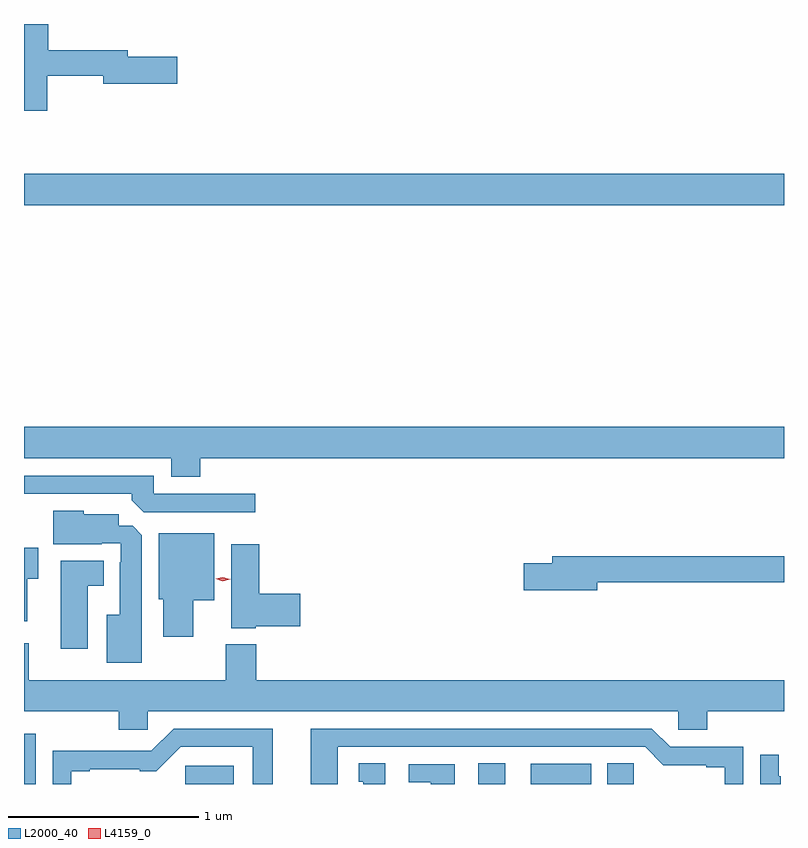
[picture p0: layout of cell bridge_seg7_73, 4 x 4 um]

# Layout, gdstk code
import gdstk
lib = gdstk.Library(unit=1e-6, precision=1e-09)
def R(c, l, rs):  # rectangles x0, y0, x1, y1
    for r in rs: c.add(gdstk.rectangle(r[:2], r[2:], *l))
def P(c, l, *ps):  # polygons
    for p in ps: c.add(gdstk.Polygon(p, *l))
L2000_40 = (2000, 40)
L4159_0 = (4159, 0)

bridge_seg7_73 = lib.new_cell('bridge_seg7_73')
R(bridge_seg7_73, L2000_40, [(1106.65,1030.869,1106.712,1031.133), (1107.498,1030.869,1107.754,1030.965), (1109.042,1030.869,1109.182,1030.979), (1109.318,1030.869,1109.635,1030.975), (1109.72,1030.869,1109.859,1030.979), (1106.65,1033.916,1110.65,1034.08)])
P(bridge_seg7_73, L2000_40, [(1106.772,1034.596),(1107.068,1034.596),(1107.068,1034.554),(1107.457,1034.554),(1107.457,1034.696),(1107.196,1034.696),(1107.196,1034.732),(1106.777,1034.732),(1106.777,1034.869),(1106.65,1034.869),(1106.65,1034.412),(1106.772,1034.412)],
  [(1107.578,1032.584),(1110.65,1032.584),(1110.65,1032.748),(1106.65,1032.748),(1106.65,1032.584),(1107.425,1032.584),(1107.425,1032.485),(1107.578,1032.485)],
  [(1107.868,1032.396),(1107.333,1032.396),(1107.333,1032.492),(1106.65,1032.492),(1106.65,1032.396),(1107.218,1032.396),(1107.218,1032.362),(1107.279,1032.3),(1107.868,1032.3)],
  [(1107.271,1032.179),(1107.222,1032.228),(1107.148,1032.228),(1107.148,1032.289),(1106.964,1032.289),(1106.964,1032.307),(1106.804,1032.307),(1106.804,1032.131),(1107.059,1032.131),(1107.059,1032.135),(1107.159,1032.135),(1107.159,1032.035),(1107.155,1032.035),(1107.155,1031.761),(1107.086,1031.761),(1107.086,1031.507),(1107.271,1031.507)],
  [(1107.541,1031.837),(1107.652,1031.837),(1107.652,1032.19),(1107.359,1032.19),(1107.359,1031.841),(1107.383,1031.841),(1107.383,1031.643),(1107.541,1031.643)],
  [(1107.87,1031.699),(1108.105,1031.699),(1108.105,1031.87),(1107.887,1031.87),(1107.887,1032.132),(1107.74,1032.132),(1107.74,1031.69),(1107.87,1031.69)],
  [(1106.668,1031.95),(1106.725,1031.95),(1106.725,1032.112),(1106.65,1032.112),(1106.65,1031.726),(1106.668,1031.726)],
  [(1109.668,1031.932),(1110.65,1031.932),(1110.65,1032.068),(1109.429,1032.068),(1109.429,1032.032),(1109.28,1032.032),(1109.28,1031.89),(1109.668,1031.89)],
  [(1106.986,1031.912),(1107.07,1031.912),(1107.07,1032.043),(1106.843,1032.043),(1106.843,1031.58),(1106.986,1031.58)],
  [(1107.3,1031.252),(1110.093,1031.252),(1110.093,1031.154),(1110.245,1031.154),(1110.245,1031.252),(1110.65,1031.252),(1110.65,1031.416),(1107.872,1031.416),(1107.872,1031.605),(1107.712,1031.605),(1107.712,1031.416),(1106.674,1031.416),(1106.674,1031.611),(1106.65,1031.611),(1106.65,1031.252),(1107.149,1031.252),(1107.149,1031.154),(1107.3,1031.154)],
  [(1108.3,1031.064),(1109.919,1031.064),(1110.015,1030.968),(1110.242,1030.968),(1110.242,1030.956),(1110.338,1030.956),(1110.338,1030.869),(1110.435,1030.869),(1110.435,1031.064),(1110.051,1031.064),(1109.955,1031.16),(1108.16,1031.16),(1108.16,1030.869),(1108.3,1030.869)],
  [(1106.899,1030.935),(1106.995,1030.935),(1106.995,1030.947),(1107.26,1030.947),(1107.26,1030.936),(1107.346,1030.936),(1107.474,1031.064),(1107.854,1031.064),(1107.854,1030.869),(1107.958,1030.869),(1107.958,1031.16),(1107.438,1031.16),(1107.321,1031.043),(1107.065,1031.043),(1107.065,1031.045),(1106.802,1031.045),(1106.802,1030.869),(1106.899,1030.869)],
  [(1110.634,1030.91),(1110.622,1030.91),(1110.622,1031.023),(1110.525,1031.023),(1110.525,1030.869),(1110.634,1030.869)],
  [(1108.552,1030.979),(1108.412,1030.979),(1108.412,1030.881),(1108.436,1030.881),(1108.436,1030.869),(1108.552,1030.869)],
  [(1108.918,1030.974),(1108.674,1030.974),(1108.674,1030.878),(1108.79,1030.878),(1108.79,1030.869),(1108.918,1030.869)])
P(bridge_seg7_73, L4159_0, [(1107.696,1031.937),(1107.658,1031.948),(1107.658,1031.948),(1107.658,1031.948),(1107.697,1031.957),(1107.735,1031.946),(1107.735,1031.946),(1107.735,1031.946)])

lib.write_gds('bridge_seg7_73.gds')
